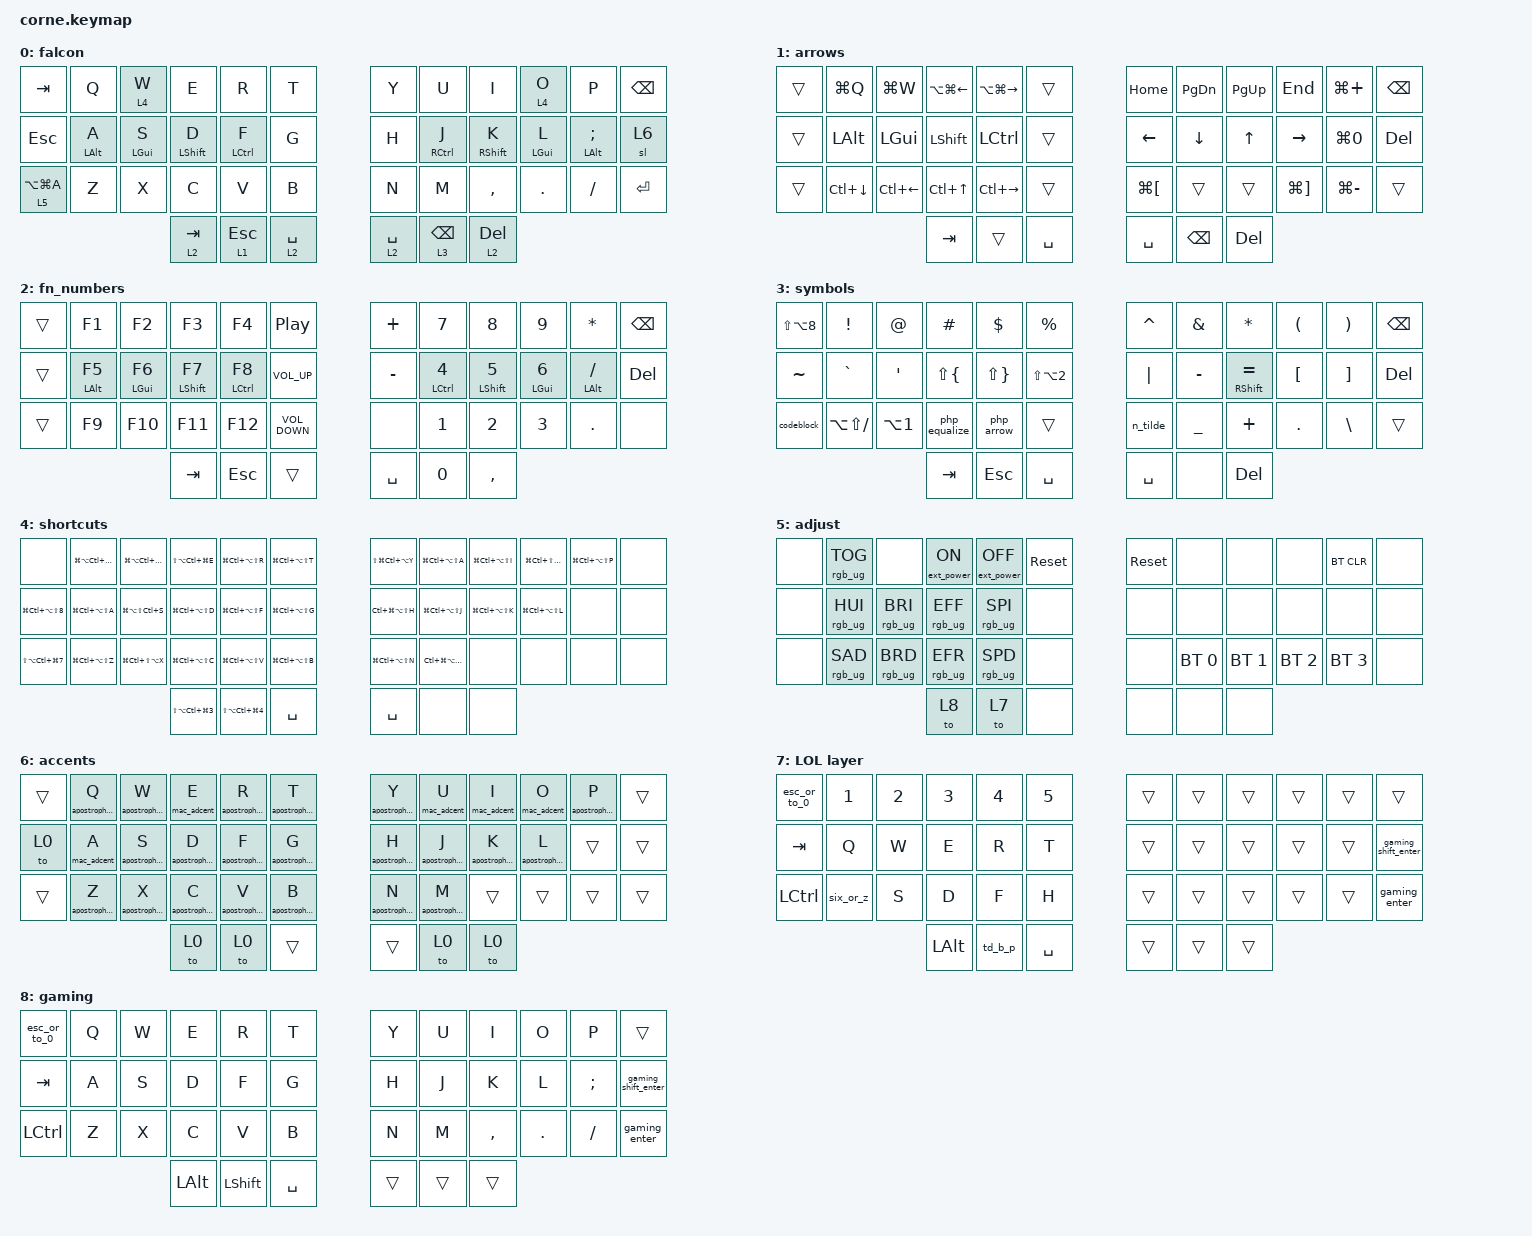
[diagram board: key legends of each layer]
/*
 * Copyright (c) 2020 The ZMK Contributors
 *
 * SPDX-License-Identifier: MIT
 */

#include <dt-bindings/zmk/mouse.h>
#include <behaviors.dtsi>
#include <dt-bindings/zmk/bt.h>
#include <dt-bindings/zmk/ext_power.h>
#include <dt-bindings/zmk/keys.h>
#include <dt-bindings/zmk/rgb.h>

#define U_MOUSE_MOVE_MAX 1000

#undef MOVE_UP
#undef MOVE_DOWN
#undef MOVE_LEFT
#undef MOVE_RIGHT

#define MOVE_UP MOVE_VERT(-U_MOUSE_MOVE_MAX)
#define MOVE_DOWN MOVE_VERT(U_MOUSE_MOVE_MAX)
#define MOVE_LEFT MOVE_HOR(-U_MOUSE_MOVE_MAX)
#define MOVE_RIGHT MOVE_HOR(U_MOUSE_MOVE_MAX)

&mmv {
    acceleration-exponent = <1>;      // 1
    time-to-max-speed-ms = <300>;     // 300
    delay-ms = <0>;                   // 0
};

#define U_MOUSE_SCROLL_MAX 75

#undef SCROLL_UP
#undef SCROLL_DOWN
#undef SCROLL_LEFT
#undef SCROLL_RIGHT

#define SCROLL_UP SCROLL_VERT(U_MOUSE_SCROLL_MAX)
#define SCROLL_DOWN SCROLL_VERT(-U_MOUSE_SCROLL_MAX)
#define SCROLL_LEFT SCROLL_HOR(-U_MOUSE_SCROLL_MAX)
#define SCROLL_RIGHT SCROLL_HOR(U_MOUSE_SCROLL_MAX)

&mwh {
    acceleration-exponent = <1>;      // 0
    time-to-max-speed-ms = <500>;     // 300
    delay-ms = <0>;
};

&lt {
    require-prior-idle-ms = <300>;
    quick-tap-ms = <100>;
    flavor = "tap-preferred";
    tapping-term-ms = <300>;
    hold-trigger-on-release;
};

/ {
    combos {
        compatible = "zmk,combos";

        combo_bloq_may {
            bindings = <&caps_word>;
            key-positions = <15 20>;
            layers = <0>;
        };
    };

    macros {
        php_arrow: php_arrow {
            compatible = "zmk,behavior-macro";
            #binding-cells = <0>;
            bindings = <&kp MINUS &kp GT>;
            label = "PHP_ARROW";
        };

        php_equalize: php_equalize {
            compatible = "zmk,behavior-macro";
            #binding-cells = <0>;
            bindings = <&kp EQUAL &kp GT>;
            label = "PHP_EQUALIZE";
        };

        n_tilde: n_tilde {
            compatible = "zmk,behavior-macro";
            #binding-cells = <0>;
            bindings = <&kp LA(N) &kp N>;
            label = "N_TILDE";
        };

        mac_adcent: mac_adcent_a {
            compatible = "zmk,behavior-macro-one-param";
            #binding-cells = <1>;
            bindings = <&kp LA(E) &macro_param_1to1 &kp MACRO_PLACEHOLDER>;
            label = "MAC_ADCENT_A";
        };

        gaming_enter: gaming_enter {
            compatible = "zmk,behavior-macro";
            #binding-cells = <0>;
            bindings = <&to 0 &kp ENTER>;
            label = "GAMING_ENTER";
        };

        gaming_shift_enter: gaming_shift_enter {
            compatible = "zmk,behavior-macro";
            #binding-cells = <0>;
            bindings = <&to 0 &kp LS(ENTER)>;
            label = "GAMING_SHIFT_ENTER";
        };

        apostrophe_and_key: apostrophe_and_key {
            compatible = "zmk,behavior-macro-one-param";
            #binding-cells = <1>;
            bindings = <&kp APOSTROPHE &macro_param_1to1 &kp MACRO_PLACEHOLDER>;
            label = "APOSTROPHE_AND_KEY";
        };

        codeblock: codeblock {
            compatible = "zmk,behavior-macro";
            #binding-cells = <0>;
            bindings = <&kp GRAVE &kp GRAVE &kp GRAVE &kp GRAVE &kp GRAVE &kp GRAVE &kp LEFT &kp LEFT &kp LEFT>;
            label = "CODEBLOCK";
        };
    };

    behaviors {
        hml: hml {
            compatible = "zmk,behavior-hold-tap";
            label = "HML";
            bindings = <&kp>, <&kp>;

            #binding-cells = <2>;
            tapping-term-ms = <200>;
            flavor = "tap-preferred";
            hold-trigger-on-release;
            quick-tap-ms = <100>;
            require-prior-idle-ms = <150>;
        };

        hmr: hmr {
            compatible = "zmk,behavior-hold-tap";
            label = "HMR";
            bindings = <&kp>, <&kp>;

            #binding-cells = <2>;
            tapping-term-ms = <200>;
            flavor = "tap-preferred";
            hold-trigger-on-release;
            quick-tap-ms = <100>;
            require-prior-idle-ms = <150>;
        };

        key_lt: key_lt {
            compatible = "zmk,behavior-hold-tap";
            label = "KEY_LT";
            bindings = <&mo>, <&kp>;

            #binding-cells = <2>;
            tapping-term-ms = <250>;
            flavor = "tap-preferred";
            require-prior-idle-ms = <200>;
            retro-tap;
            quick-tap-ms = <100>;
        };

        hold_lt: hold_lt {
            compatible = "zmk,behavior-hold-tap";
            label = "HOLD_LT";
            bindings = <&mo>, <&kp>;

            #binding-cells = <2>;
            tapping-term-ms = <200>;
            quick-tap-ms = <100>;
            require-prior-idle-ms = <150>;
        };

        td_b_p: td_b_p {
            compatible = "zmk,behavior-tap-dance";
            label = "TD_B_P";
            #binding-cells = <0>;
            bindings = <&kp B>, <&kp P>;

            tapping-term-ms = <300>;
        };

        esc_or_to_0: esc_or_to_0 {
            compatible = "zmk,behavior-tap-dance";
            label = "ESC_OR_TO_0";
            #binding-cells = <0>;
            bindings = <&kp ESCAPE>, <&to 0>;
        };

        six_or_z: six_or_z {
            compatible = "zmk,behavior-tap-dance";
            label = "SIX_OR_Z";
            #binding-cells = <0>;
            bindings = <&kp NUMBER_6>, <&kp Z>;
        };
    };

    keymap {
        compatible = "zmk,keymap";

        default_layer {
            // -----------------------------------------------------------------------------------------
            // |  TAB |  Q  |  W  |  E  |  R  |  T  |   |  Y  |  U   |  I  |  O  |  P  | BKSP |
            // | CTRL |  A  |  S  |  D  |  F  |  G  |   |  H  |  J   |  K  |  L  |  ;  |  '   |
            // | SHFT |  Z  |  X  |  C  |  V  |  B  |   |  N  |  M   |  ,  |  .  |  /  | ESC  |
            //                    | GUI | LWR | SPC |   | ENT | RSE  | ALT |

            bindings = <
&kp TAB          &kp Q        &lt 4 W      &kp E              &kp R              &kp T              &kp Y            &kp U                 &kp I              &lt 4 O      &kp P                &kp BACKSPACE
&kp ESC          &hml LALT A  &hml LGUI S  &hml LEFT_SHIFT D  &hml LCTRL F       &kp G              &kp H            &hmr RCTRL J          &hmr RSHIFT K      &hmr LGUI L  &hmr LALT SEMICOLON  &sl 6
&lt 5 LA(LG(A))  &kp Z        &kp X        &kp C              &kp V              &kp B              &kp N            &kp M                 &kp COMMA          &kp DOT      &kp FSLH             &kp ENTER
                                           &hold_lt 2 TAB     &hold_lt 1 ESCAPE  &key_lt 2 SPACE    &key_lt 2 SPACE  &hold_lt 3 BACKSPACE  &hold_lt 2 DELETE
            >;

            label = "falcon";
        };

        arrows {
            bindings = <
&trans  &kp LG(Q)     &kp LG(W)     &kp LA(LG(LEFT))  &kp LA(LG(RIGHT))  &trans       &kp HOME      &kp PG_DN      &kp PG_UP  &kp END       &kp LG(PLUS)   &kp BACKSPACE
&trans  &kp LALT      &kp LGUI      &kp LSHFT         &kp LCTRL          &trans       &kp LEFT      &kp DOWN       &kp UP     &kp RIGHT     &kp LG(N0)     &kp DELETE
&trans  &kp LC(DOWN)  &kp LC(LEFT)  &kp LC(UP)        &kp LC(RIGHT)      &trans       &kp LG(LBKT)  &trans         &trans     &kp LG(RBKT)  &kp LG(MINUS)  &trans
                                    &kp TAB           &trans             &kp SPACE    &kp SPACE     &kp BACKSPACE  &kp DEL
            >;

            label = "arrows";
        };

        numbers_and_functions {
            // -----------------------------------------------------------------------------------------
            // |  TAB |  1  |  2  |  3  |  4  |  5  |   |  6  |  7  |  8  |  9  |  0  | BKSP |
            // | BTCLR| BT1 | BT2 | BT3 | BT4 | BT5 |   | LFT | DWN |  UP | RGT |     |      |
            // | SHFT |     |     |     |     |     |   |     |     |     |     |     |      |
            //                    | GUI |     | SPC |   | ENT |     | ALT |

            bindings = <
&trans  &kp F1            &kp F2            &kp F3              &kp F4         &kp C_PLAY_PAUSE     &kp PLUS   &kp N7                &kp N8              &kp N9            &kp ASTERISK         &kp BACKSPACE
&trans  &hml LEFT_ALT F5  &hml LEFT_GUI F6  &hml LEFT_SHIFT F7  &hml LCTRL F8  &kp C_VOLUME_UP      &kp MINUS  &hmr LEFT_CONTROL N4  &hmr LEFT_SHIFT N5  &hmr LEFT_GUI N6  &hmr LEFT_ALT SLASH  &kp DELETE
&trans  &kp F9            &kp F10           &kp F11             &kp F12        &kp C_VOLUME_DOWN    &none      &kp N1                &kp N2              &kp N3            &kp DOT              &none
                                            &kp TAB             &kp ESC        &trans               &kp SPACE  &kp N0                &kp COMMA
            >;

            label = "fn_numbers";
        };

        symbols {
            // -----------------------------------------------------------------------------------------
            // |  TAB |  !  |  @  |  #  |  $  |  %  |   |  ^  |  &  |  *  |  (  |  )  | BKSP |
            // | CTRL |     |     |     |     |     |   |  -  |  =  |  [  |  ]  |  \  |  `   |
            // | SHFT |     |     |     |     |     |   |  _  |  +  |  {  |  }  | "|" |  ~   |
            //                    | GUI |     | SPC |   | ENT |     | ALT |

            bindings = <
&kp LS(LA(N8))  &kp EXCLAMATION    &kp AT_SIGN  &kp HASH       &kp DOLLAR    &kp PERCENT             &kp CARET  &kp AMPERSAND  &kp ASTERISK            &kp LEFT_PARENTHESIS  &kp RIGHT_PARENTHESIS  &kp BACKSPACE
&kp TILDE       &kp GRAVE          &kp SQT      &kp LS(LBRC)   &kp LS(RBRC)  &kp LS(LA(NUMBER_2))    &kp PIPE   &kp MINUS      &hmr RIGHT_SHIFT EQUAL  &kp LBKT              &kp RBKT               &kp DELETE
&codeblock      &kp LA(LS(SLASH))  &kp LA(N1)   &php_equalize  &php_arrow    &trans                  &n_tilde   &kp UNDER      &kp PLUS                &kp DOT               &kp BSLH               &trans
                                                &kp TAB        &kp ESCAPE    &kp SPACE               &kp SPACE  &none          &kp DEL
            >;

            label = "symbols";
        };

        shortcuts {
            bindings = <
&none                   &kp LG(LA(LC(LS(Q))))  &kp LG(LA(LC(LS(W))))  &kp LS(LA(LC(LG(E))))         &kp LG(LC(LA(LS(R))))         &kp LG(LC(LA(LS(T))))    &kp LS(LG(LC(LA(Y))))  &kp LG(LC(LA(LS(A))))  &kp LG(LC(LA(LS(I))))  &kp LG(LC(LS(LA(O))))  &kp LG(LC(LA(LS(P))))  &none
&kp LG(LC(LA(LS(N8))))  &kp LG(LC(LA(LS(A))))  &kp LG(LA(LS(LC(S))))  &kp LG(LC(LA(LS(D))))         &kp LG(LC(LA(LS(F))))         &kp LG(LC(LA(LS(G))))    &kp LC(LG(LA(LS(H))))  &kp LG(LC(LA(LS(J))))  &kp LG(LC(LA(LS(K))))  &kp LG(LC(LA(LS(L))))  &none                  &none
&kp LS(LA(LC(LG(N7))))  &kp LG(LC(LA(LS(Z))))  &kp LG(LC(LS(LA(X))))  &kp LG(LC(LA(LS(C))))         &kp LG(LC(LA(LS(V))))         &kp LG(LC(LA(LS(B))))    &kp LG(LC(LA(LS(N))))  &kp LC(LG(LA(LS(M))))  &none                  &none                  &none                  &none
                                                                      &kp LS(LA(LC(LG(NUMBER_3))))  &kp LS(LA(LC(LG(NUMBER_4))))  &kp SPACE                &kp SPACE              &none                  &none
            >;

            label = "shortcuts";
        };

        adjust {
            bindings = <
&none  &rgb_ug RGB_TOG  &none            &ext_power EP_ON  &ext_power EP_OFF  &sys_reset    &sys_reset  &none         &none         &none         &bt BT_CLR    &none
&none  &rgb_ug RGB_HUI  &rgb_ug RGB_BRI  &rgb_ug RGB_EFF   &rgb_ug RGB_SPI    &none         &none       &none         &none         &none         &none         &none
&none  &rgb_ug RGB_SAD  &rgb_ug RGB_BRD  &rgb_ug RGB_EFR   &rgb_ug RGB_SPD    &none         &none       &bt BT_SEL 0  &bt BT_SEL 1  &bt BT_SEL 2  &bt BT_SEL 3  &none
                                         &to 8             &to 7              &none         &none       &none         &none
            >;

            label = "adjust";
        };

        accents {
            bindings = <
&trans  &apostrophe_and_key Q  &apostrophe_and_key W  &mac_adcent E          &apostrophe_and_key R  &apostrophe_and_key T    &apostrophe_and_key Y  &mac_adcent U          &mac_adcent I          &mac_adcent O          &apostrophe_and_key P  &trans
&to 0   &mac_adcent A          &apostrophe_and_key S  &apostrophe_and_key D  &apostrophe_and_key F  &apostrophe_and_key G    &apostrophe_and_key H  &apostrophe_and_key J  &apostrophe_and_key K  &apostrophe_and_key L  &trans                 &trans
&trans  &apostrophe_and_key Z  &apostrophe_and_key X  &apostrophe_and_key C  &apostrophe_and_key V  &apostrophe_and_key B    &apostrophe_and_key N  &apostrophe_and_key M  &trans                 &trans                 &trans                 &trans
                                                      &to 0                  &to 0                  &trans                   &trans                 &to 0                  &to 0
            >;

            label = "accents";
        };

        lol_layer {
            bindings = <
&esc_or_to_0      &kp N1     &kp N2  &kp N3        &kp N4   &kp N5       &trans  &trans  &trans  &trans  &trans  &trans
&kp TAB           &kp Q      &kp W   &kp E         &kp R    &kp T        &trans  &trans  &trans  &trans  &trans  &gaming_shift_enter
&kp LEFT_CONTROL  &six_or_z  &kp S   &kp D         &kp F    &kp H        &trans  &trans  &trans  &trans  &trans  &gaming_enter
                                     &kp LEFT_ALT  &td_b_p  &kp SPACE    &trans  &trans  &trans
            >;

            label = "LOL layer";
        };

        gaming {
            label = "gaming";
            bindings = <
&esc_or_to_0      &kp Q  &kp W  &kp E         &kp R      &kp T        &kp Y   &kp U   &kp I      &kp O    &kp P     &trans
&kp TAB           &kp A  &kp S  &kp D         &kp F      &kp G        &kp H   &kp J   &kp K      &kp L    &kp SEMI  &gaming_shift_enter
&kp LEFT_CONTROL  &kp Z  &kp X  &kp C         &kp V      &kp B        &kp N   &kp M   &kp COMMA  &kp DOT  &kp FSLH  &gaming_enter
                                &kp LEFT_ALT  &kp LSHFT  &kp SPACE    &trans  &trans  &trans
            >;
        };
    };
};
